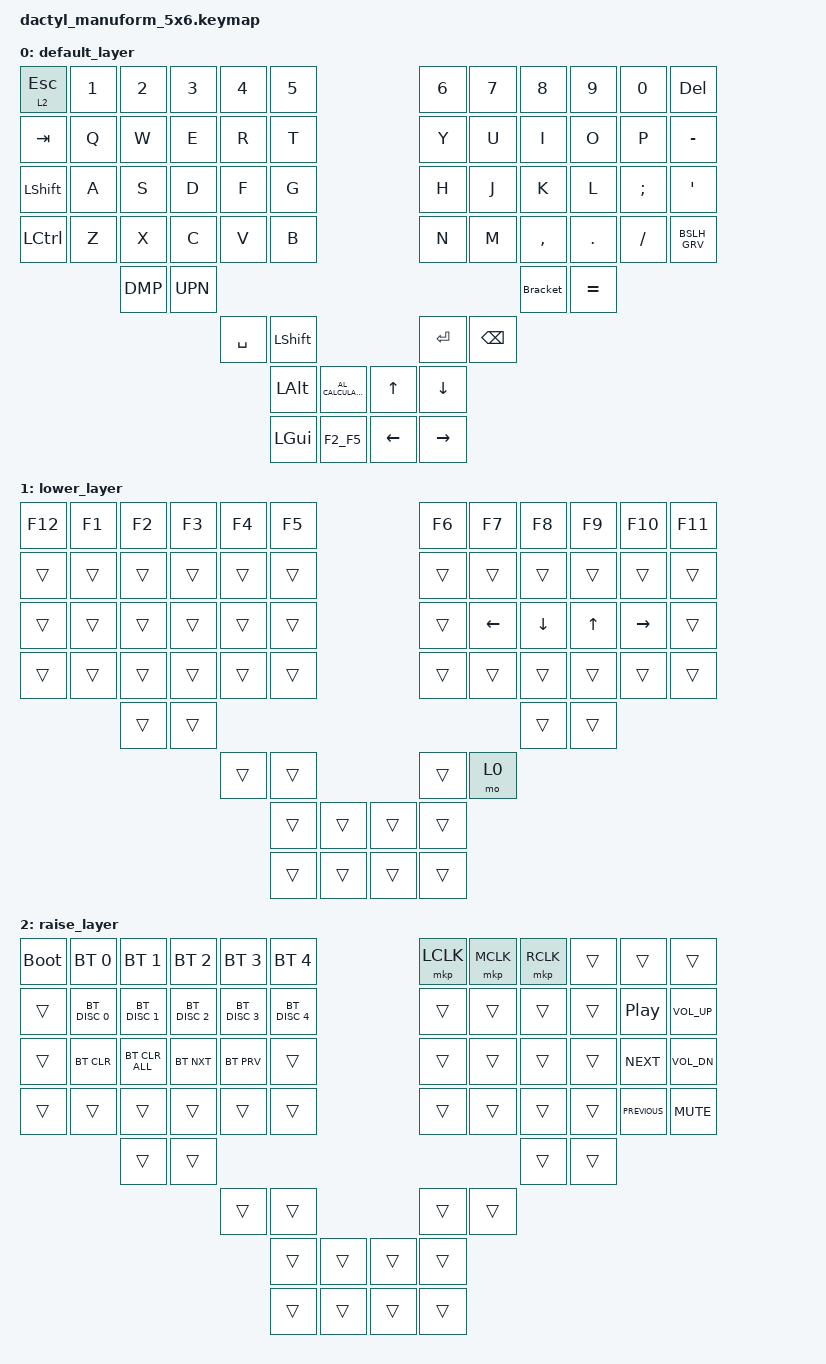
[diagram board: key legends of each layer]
#include <behaviors.dtsi>
#include <dt-bindings/zmk/bt.h>
#include <dt-bindings/zmk/keys.h>
#include <dt-bindings/zmk/pointing.h>

#define DEFAULT 0
#define LWR 1
#define RSE 2
#define ADJ 3

/ {
    behaviors {
        F2_F5: F2_F5 {
            compatible = "zmk,behavior-tap-dance";
            label = "F2_F5";
            #binding-cells = <0>;
            bindings = <&kp F2>, <&kp F5>;
        };

        Bracket: Bracket {
            compatible = "zmk,behavior-tap-dance";
            label = "BRACKET";
            #binding-cells = <0>;
            bindings = <&kp LBKT>, <&kp RBKT>;
        };

        DMP: DMP {
            compatible = "zmk,behavior-tap-dance";
            label = "DMP";
            #binding-cells = <0>;
            bindings = <&kp C_VOL_DN>, <&kp C_MUTE>, <&kp C_PREVIOUS>;
        };

        UPN: UPN {
            compatible = "zmk,behavior-tap-dance";
            label = "UPN";
            #binding-cells = <0>;
            bindings = <&kp C_VOLUME_UP>, <&kp C_PLAY_PAUSE>, <&kp C_NEXT>;
        };

        BSLH_GRV: BSLH_GRV {
            compatible = "zmk,behavior-tap-dance";
            label = "BSLH_GRV";
            #binding-cells = <0>;
            bindings = <&kp BSLH>, <&kp GRAVE>;
        };
    };

    combos { compatible = "zmk,combos"; };

    keymap {
        compatible = "zmk,keymap";

        default_layer {
            bindings = <
&lt 2 ESC  &kp N1  &kp N2  &kp N3  &kp N4     &kp N5                                             &kp N6     &kp N7         &kp N8     &kp N9     &kp N0     &kp DEL
&kp TAB    &kp Q   &kp W   &kp E   &kp R      &kp T                                              &kp Y      &kp U          &kp I      &kp O      &kp P      &kp MINUS
&kp LSHFT  &kp A   &kp S   &kp D   &kp F      &kp G                                              &kp H      &kp J          &kp K      &kp L      &kp SEMI   &kp SQT
&kp LCTRL  &kp Z   &kp X   &kp C   &kp V      &kp B                                              &kp N      &kp M          &kp COMMA  &kp DOT    &kp SLASH  &BSLH_GRV
                   &DMP    &UPN                                                                                            &Bracket   &kp EQUAL
                                   &kp SPACE  &kp LEFT_SHIFT                                     &kp RET    &kp BACKSPACE
                                              &kp LEFT_ALT    &kp C_AL_CALCULATOR  &kp UP_ARROW  &kp DOWN
                                              &kp LEFT_GUI    &F2_F5               &kp LEFT      &kp RIGHT
            >;
        };

        lower_layer {
            bindings = <
&kp F12  &kp F1  &kp F2  &kp F3  &kp F4  &kp F5                  &kp F6  &kp F7    &kp F8    &kp F9  &kp F10    &kp F11
&trans   &trans  &trans  &trans  &trans  &trans                  &trans  &trans    &trans    &trans  &trans     &trans
&trans   &trans  &trans  &trans  &trans  &trans                  &trans  &kp LEFT  &kp DOWN  &kp UP  &kp RIGHT  &trans
&trans   &trans  &trans  &trans  &trans  &trans                  &trans  &trans    &trans    &trans  &trans     &trans
                 &trans  &trans                                                    &trans    &trans
                                 &trans  &trans                  &trans  &mo 0
                                         &trans  &trans  &trans  &trans
                                         &trans  &trans  &trans  &trans
            >;
        };

        raise_layer {
            bindings = <
&bootloader  &bt BT_SEL 0   &bt BT_SEL 1    &bt BT_SEL 2   &bt BT_SEL 3   &bt BT_SEL 4                   &mkp LCLK  &mkp MCLK  &mkp RCLK  &trans  &trans            &trans
&trans       &bt BT_DISC 0  &bt BT_DISC 1   &bt BT_DISC 2  &bt BT_DISC 3  &bt BT_DISC 4                  &trans     &trans     &trans     &trans  &kp C_PLAY_PAUSE  &kp K_VOL_UP
&trans       &bt BT_CLR     &bt BT_CLR_ALL  &bt BT_NXT     &bt BT_PRV     &trans                         &trans     &trans     &trans     &trans  &kp C_NEXT        &kp K_VOL_DN
&trans       &trans         &trans          &trans         &trans         &trans                         &trans     &trans     &trans     &trans  &kp C_PREVIOUS    &kp K_MUTE
                            &trans          &trans                                                                              &trans     &trans
                                                           &trans         &trans                         &trans     &trans
                                                                          &trans         &trans  &trans  &trans
                                                                          &trans         &trans  &trans  &trans
            >;
        };
    };
};
